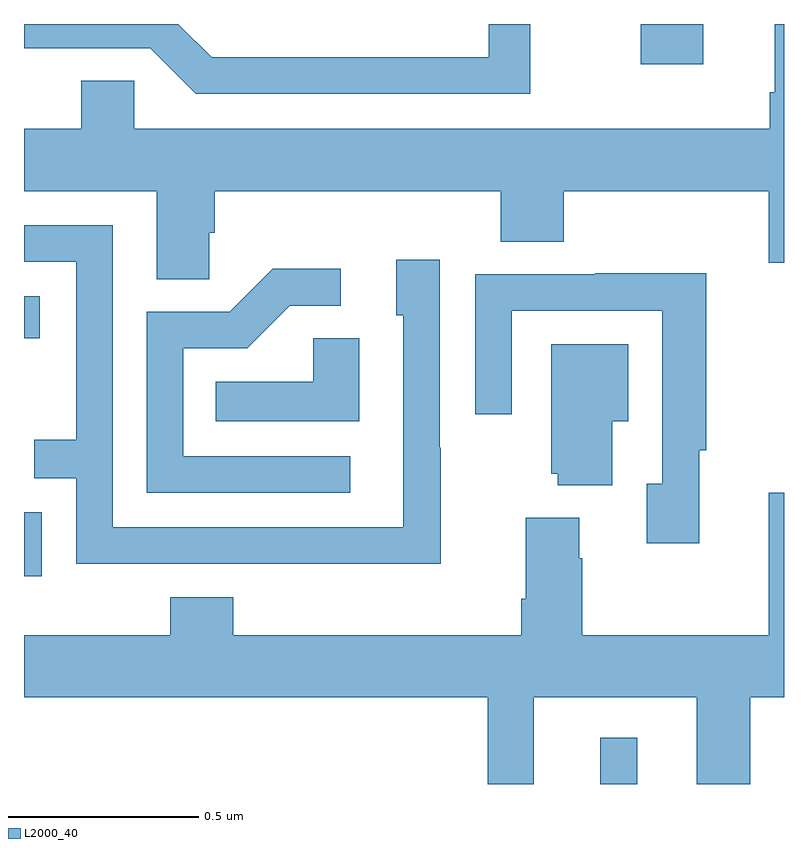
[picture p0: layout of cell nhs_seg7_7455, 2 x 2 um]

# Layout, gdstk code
import gdstk
lib = gdstk.Library(unit=1e-6, precision=1e-09)
def R(c, l, rs):  # rectangles x0, y0, x1, y1
    for r in rs: c.add(gdstk.rectangle(r[:2], r[2:], *l))
def P(c, l, *ps):  # polygons
    for p in ps: c.add(gdstk.Polygon(p, *l))
L2000_40 = (2000, 40)

nhs_seg7_7455 = lib.new_cell('nhs_seg7_7455')
R(nhs_seg7_7455, L2000_40, [(212.516,1055,212.614,1055.122), (211,1055.547,211.047,1055.715), (211,1056.173,211.042,1056.283), (212.623,1056.894,212.788,1057)])
P(nhs_seg7_7455, L2000_40, [(212.332,1057),(212.223,1057),(212.223,1056.912),(211.494,1056.912),(211.406,1057),(211,1057),(211,1056.936),(211.332,1056.936),(211.452,1056.816),(212.332,1056.816)],
  [(211.488,1056.451),(211.502,1056.451),(211.502,1056.56),(212.255,1056.56),(212.255,1056.427),(212.42,1056.427),(212.42,1056.56),(212.96,1056.56),(212.96,1056.372),(213,1056.372),(213,1057),(212.975,1057),(212.975,1056.82),(212.963,1056.82),(212.963,1056.724),(211.29,1056.724),(211.29,1056.851),(211.151,1056.851),(211.151,1056.724),(211,1056.724),(211,1056.56),(211.349,1056.56),(211.349,1056.328),(211.488,1056.328)],
  [(212.097,1055.885),(212.094,1055.885),(212.094,1056.379),(211.979,1056.379),(211.979,1056.234),(211.998,1056.234),(211.998,1055.676),(211.233,1055.676),(211.233,1056.471),(211,1056.471),(211,1056.375),(211.137,1056.375),(211.137,1055.906),(211.027,1055.906),(211.027,1055.805),(211.137,1055.805),(211.137,1055.58),(211.633,1055.58),(211.633,1055.579),(212.097,1055.579)],
  [(211.858,1055.862),(211.419,1055.862),(211.419,1056.147),(211.588,1056.147),(211.699,1056.258),(211.834,1056.258),(211.834,1056.356),(211.655,1056.356),(211.542,1056.243),(211.323,1056.243),(211.323,1055.766),(211.858,1055.766)],
  [(212.777,1055.878),(212.795,1055.878),(212.795,1056.344),(212.503,1056.344),(212.503,1056.342),(212.187,1056.342),(212.187,1055.973),(212.283,1055.973),(212.283,1056.246),(212.679,1056.246),(212.679,1055.79),(212.639,1055.79),(212.639,1055.634),(212.777,1055.634)],
  [(211.882,1056.173),(211.761,1056.173),(211.761,1056.058),(211.504,1056.058),(211.504,1055.954),(211.882,1055.954)],
  [(212.548,1055.954),(212.59,1055.954),(212.59,1056.157),(212.387,1056.157),(212.387,1055.817),(212.405,1055.817),(212.405,1055.786),(212.548,1055.786)],
  [(212.341,1055.228),(212.771,1055.228),(212.771,1055),(212.911,1055),(212.911,1055.228),(213,1055.228),(213,1055.767),(212.96,1055.767),(212.96,1055.392),(212.469,1055.392),(212.469,1055.594),(212.461,1055.594),(212.461,1055.701),(212.321,1055.701),(212.321,1055.488),(212.309,1055.488),(212.309,1055.392),(211.55,1055.392),(211.55,1055.491),(211.385,1055.491),(211.385,1055.392),(211,1055.392),(211,1055.228),(212.22,1055.228),(212.22,1055),(212.341,1055)])

lib.write_gds('nhs_seg7_7455.gds')
